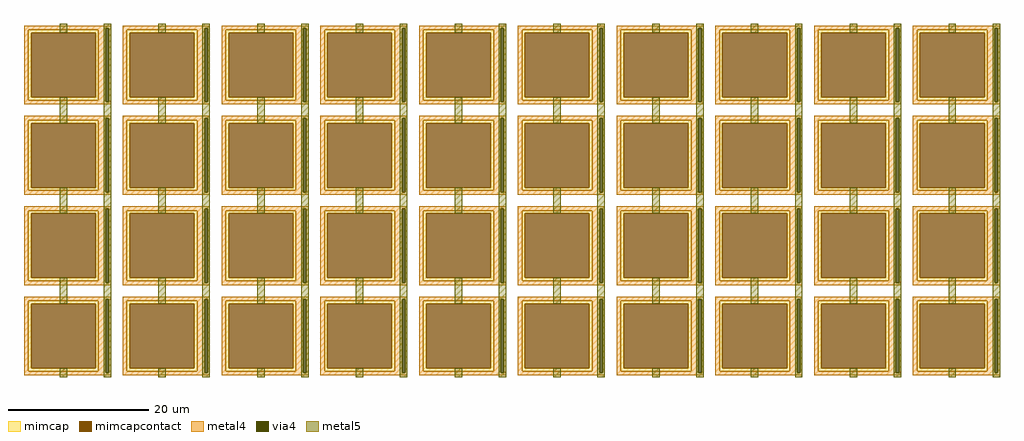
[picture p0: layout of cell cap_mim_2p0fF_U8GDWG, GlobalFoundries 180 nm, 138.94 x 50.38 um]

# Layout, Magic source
magic
tech gf180mcuD
magscale 1 10
<< mimcap >>
rect -12883 5096 -10883 5176
rect -12883 3256 -12803 5096
rect -10963 3256 -10883 5096
rect -12883 3176 -10883 3256
rect -10071 5096 -8071 5176
rect -10071 3256 -9991 5096
rect -8151 3256 -8071 5096
rect -10071 3176 -8071 3256
rect -7259 5096 -5259 5176
rect -7259 3256 -7179 5096
rect -5339 3256 -5259 5096
rect -7259 3176 -5259 3256
rect -4447 5096 -2447 5176
rect -4447 3256 -4367 5096
rect -2527 3256 -2447 5096
rect -4447 3176 -2447 3256
rect -1635 5096 365 5176
rect -1635 3256 -1555 5096
rect 285 3256 365 5096
rect -1635 3176 365 3256
rect 1177 5096 3177 5176
rect 1177 3256 1257 5096
rect 3097 3256 3177 5096
rect 1177 3176 3177 3256
rect 3989 5096 5989 5176
rect 3989 3256 4069 5096
rect 5909 3256 5989 5096
rect 3989 3176 5989 3256
rect 6801 5096 8801 5176
rect 6801 3256 6881 5096
rect 8721 3256 8801 5096
rect 6801 3176 8801 3256
rect 9613 5096 11613 5176
rect 9613 3256 9693 5096
rect 11533 3256 11613 5096
rect 9613 3176 11613 3256
rect 12425 5096 14425 5176
rect 12425 3256 12505 5096
rect 14345 3256 14425 5096
rect 12425 3176 14425 3256
rect -12883 2524 -10883 2604
rect -12883 684 -12803 2524
rect -10963 684 -10883 2524
rect -12883 604 -10883 684
rect -10071 2524 -8071 2604
rect -10071 684 -9991 2524
rect -8151 684 -8071 2524
rect -10071 604 -8071 684
rect -7259 2524 -5259 2604
rect -7259 684 -7179 2524
rect -5339 684 -5259 2524
rect -7259 604 -5259 684
rect -4447 2524 -2447 2604
rect -4447 684 -4367 2524
rect -2527 684 -2447 2524
rect -4447 604 -2447 684
rect -1635 2524 365 2604
rect -1635 684 -1555 2524
rect 285 684 365 2524
rect -1635 604 365 684
rect 1177 2524 3177 2604
rect 1177 684 1257 2524
rect 3097 684 3177 2524
rect 1177 604 3177 684
rect 3989 2524 5989 2604
rect 3989 684 4069 2524
rect 5909 684 5989 2524
rect 3989 604 5989 684
rect 6801 2524 8801 2604
rect 6801 684 6881 2524
rect 8721 684 8801 2524
rect 6801 604 8801 684
rect 9613 2524 11613 2604
rect 9613 684 9693 2524
rect 11533 684 11613 2524
rect 9613 604 11613 684
rect 12425 2524 14425 2604
rect 12425 684 12505 2524
rect 14345 684 14425 2524
rect 12425 604 14425 684
rect -12883 -48 -10883 32
rect -12883 -1888 -12803 -48
rect -10963 -1888 -10883 -48
rect -12883 -1968 -10883 -1888
rect -10071 -48 -8071 32
rect -10071 -1888 -9991 -48
rect -8151 -1888 -8071 -48
rect -10071 -1968 -8071 -1888
rect -7259 -48 -5259 32
rect -7259 -1888 -7179 -48
rect -5339 -1888 -5259 -48
rect -7259 -1968 -5259 -1888
rect -4447 -48 -2447 32
rect -4447 -1888 -4367 -48
rect -2527 -1888 -2447 -48
rect -4447 -1968 -2447 -1888
rect -1635 -48 365 32
rect -1635 -1888 -1555 -48
rect 285 -1888 365 -48
rect -1635 -1968 365 -1888
rect 1177 -48 3177 32
rect 1177 -1888 1257 -48
rect 3097 -1888 3177 -48
rect 1177 -1968 3177 -1888
rect 3989 -48 5989 32
rect 3989 -1888 4069 -48
rect 5909 -1888 5989 -48
rect 3989 -1968 5989 -1888
rect 6801 -48 8801 32
rect 6801 -1888 6881 -48
rect 8721 -1888 8801 -48
rect 6801 -1968 8801 -1888
rect 9613 -48 11613 32
rect 9613 -1888 9693 -48
rect 11533 -1888 11613 -48
rect 9613 -1968 11613 -1888
rect 12425 -48 14425 32
rect 12425 -1888 12505 -48
rect 14345 -1888 14425 -48
rect 12425 -1968 14425 -1888
rect -12883 -2620 -10883 -2540
rect -12883 -4460 -12803 -2620
rect -10963 -4460 -10883 -2620
rect -12883 -4540 -10883 -4460
rect -10071 -2620 -8071 -2540
rect -10071 -4460 -9991 -2620
rect -8151 -4460 -8071 -2620
rect -10071 -4540 -8071 -4460
rect -7259 -2620 -5259 -2540
rect -7259 -4460 -7179 -2620
rect -5339 -4460 -5259 -2620
rect -7259 -4540 -5259 -4460
rect -4447 -2620 -2447 -2540
rect -4447 -4460 -4367 -2620
rect -2527 -4460 -2447 -2620
rect -4447 -4540 -2447 -4460
rect -1635 -2620 365 -2540
rect -1635 -4460 -1555 -2620
rect 285 -4460 365 -2620
rect -1635 -4540 365 -4460
rect 1177 -2620 3177 -2540
rect 1177 -4460 1257 -2620
rect 3097 -4460 3177 -2620
rect 1177 -4540 3177 -4460
rect 3989 -2620 5989 -2540
rect 3989 -4460 4069 -2620
rect 5909 -4460 5989 -2620
rect 3989 -4540 5989 -4460
rect 6801 -2620 8801 -2540
rect 6801 -4460 6881 -2620
rect 8721 -4460 8801 -2620
rect 6801 -4540 8801 -4460
rect 9613 -2620 11613 -2540
rect 9613 -4460 9693 -2620
rect 11533 -4460 11613 -2620
rect 9613 -4540 11613 -4460
rect 12425 -2620 14425 -2540
rect 12425 -4460 12505 -2620
rect 14345 -4460 14425 -2620
rect 12425 -4540 14425 -4460
<< mimcapcontact >>
rect -12803 3256 -10963 5096
rect -9991 3256 -8151 5096
rect -7179 3256 -5339 5096
rect -4367 3256 -2527 5096
rect -1555 3256 285 5096
rect 1257 3256 3097 5096
rect 4069 3256 5909 5096
rect 6881 3256 8721 5096
rect 9693 3256 11533 5096
rect 12505 3256 14345 5096
rect -12803 684 -10963 2524
rect -9991 684 -8151 2524
rect -7179 684 -5339 2524
rect -4367 684 -2527 2524
rect -1555 684 285 2524
rect 1257 684 3097 2524
rect 4069 684 5909 2524
rect 6881 684 8721 2524
rect 9693 684 11533 2524
rect 12505 684 14345 2524
rect -12803 -1888 -10963 -48
rect -9991 -1888 -8151 -48
rect -7179 -1888 -5339 -48
rect -4367 -1888 -2527 -48
rect -1555 -1888 285 -48
rect 1257 -1888 3097 -48
rect 4069 -1888 5909 -48
rect 6881 -1888 8721 -48
rect 9693 -1888 11533 -48
rect 12505 -1888 14345 -48
rect -12803 -4460 -10963 -2620
rect -9991 -4460 -8151 -2620
rect -7179 -4460 -5339 -2620
rect -4367 -4460 -2527 -2620
rect -1555 -4460 285 -2620
rect 1257 -4460 3097 -2620
rect 4069 -4460 5909 -2620
rect 6881 -4460 8721 -2620
rect 9693 -4460 11533 -2620
rect 12505 -4460 14345 -2620
<< metal4 >>
rect -13003 5229 -10523 5296
rect -13003 5176 -10673 5229
rect -13003 3176 -12883 5176
rect -10883 3176 -10673 5176
rect -13003 3123 -10673 3176
rect -10585 3123 -10523 5229
rect -13003 3056 -10523 3123
rect -10191 5229 -7711 5296
rect -10191 5176 -7861 5229
rect -10191 3176 -10071 5176
rect -8071 3176 -7861 5176
rect -10191 3123 -7861 3176
rect -7773 3123 -7711 5229
rect -10191 3056 -7711 3123
rect -7379 5229 -4899 5296
rect -7379 5176 -5049 5229
rect -7379 3176 -7259 5176
rect -5259 3176 -5049 5176
rect -7379 3123 -5049 3176
rect -4961 3123 -4899 5229
rect -7379 3056 -4899 3123
rect -4567 5229 -2087 5296
rect -4567 5176 -2237 5229
rect -4567 3176 -4447 5176
rect -2447 3176 -2237 5176
rect -4567 3123 -2237 3176
rect -2149 3123 -2087 5229
rect -4567 3056 -2087 3123
rect -1755 5229 725 5296
rect -1755 5176 575 5229
rect -1755 3176 -1635 5176
rect 365 3176 575 5176
rect -1755 3123 575 3176
rect 663 3123 725 5229
rect -1755 3056 725 3123
rect 1057 5229 3537 5296
rect 1057 5176 3387 5229
rect 1057 3176 1177 5176
rect 3177 3176 3387 5176
rect 1057 3123 3387 3176
rect 3475 3123 3537 5229
rect 1057 3056 3537 3123
rect 3869 5229 6349 5296
rect 3869 5176 6199 5229
rect 3869 3176 3989 5176
rect 5989 3176 6199 5176
rect 3869 3123 6199 3176
rect 6287 3123 6349 5229
rect 3869 3056 6349 3123
rect 6681 5229 9161 5296
rect 6681 5176 9011 5229
rect 6681 3176 6801 5176
rect 8801 3176 9011 5176
rect 6681 3123 9011 3176
rect 9099 3123 9161 5229
rect 6681 3056 9161 3123
rect 9493 5229 11973 5296
rect 9493 5176 11823 5229
rect 9493 3176 9613 5176
rect 11613 3176 11823 5176
rect 9493 3123 11823 3176
rect 11911 3123 11973 5229
rect 9493 3056 11973 3123
rect 12305 5229 14785 5296
rect 12305 5176 14635 5229
rect 12305 3176 12425 5176
rect 14425 3176 14635 5176
rect 12305 3123 14635 3176
rect 14723 3123 14785 5229
rect 12305 3056 14785 3123
rect -13003 2657 -10523 2724
rect -13003 2604 -10673 2657
rect -13003 604 -12883 2604
rect -10883 604 -10673 2604
rect -13003 551 -10673 604
rect -10585 551 -10523 2657
rect -13003 484 -10523 551
rect -10191 2657 -7711 2724
rect -10191 2604 -7861 2657
rect -10191 604 -10071 2604
rect -8071 604 -7861 2604
rect -10191 551 -7861 604
rect -7773 551 -7711 2657
rect -10191 484 -7711 551
rect -7379 2657 -4899 2724
rect -7379 2604 -5049 2657
rect -7379 604 -7259 2604
rect -5259 604 -5049 2604
rect -7379 551 -5049 604
rect -4961 551 -4899 2657
rect -7379 484 -4899 551
rect -4567 2657 -2087 2724
rect -4567 2604 -2237 2657
rect -4567 604 -4447 2604
rect -2447 604 -2237 2604
rect -4567 551 -2237 604
rect -2149 551 -2087 2657
rect -4567 484 -2087 551
rect -1755 2657 725 2724
rect -1755 2604 575 2657
rect -1755 604 -1635 2604
rect 365 604 575 2604
rect -1755 551 575 604
rect 663 551 725 2657
rect -1755 484 725 551
rect 1057 2657 3537 2724
rect 1057 2604 3387 2657
rect 1057 604 1177 2604
rect 3177 604 3387 2604
rect 1057 551 3387 604
rect 3475 551 3537 2657
rect 1057 484 3537 551
rect 3869 2657 6349 2724
rect 3869 2604 6199 2657
rect 3869 604 3989 2604
rect 5989 604 6199 2604
rect 3869 551 6199 604
rect 6287 551 6349 2657
rect 3869 484 6349 551
rect 6681 2657 9161 2724
rect 6681 2604 9011 2657
rect 6681 604 6801 2604
rect 8801 604 9011 2604
rect 6681 551 9011 604
rect 9099 551 9161 2657
rect 6681 484 9161 551
rect 9493 2657 11973 2724
rect 9493 2604 11823 2657
rect 9493 604 9613 2604
rect 11613 604 11823 2604
rect 9493 551 11823 604
rect 11911 551 11973 2657
rect 9493 484 11973 551
rect 12305 2657 14785 2724
rect 12305 2604 14635 2657
rect 12305 604 12425 2604
rect 14425 604 14635 2604
rect 12305 551 14635 604
rect 14723 551 14785 2657
rect 12305 484 14785 551
rect -13003 85 -10523 152
rect -13003 32 -10673 85
rect -13003 -1968 -12883 32
rect -10883 -1968 -10673 32
rect -13003 -2021 -10673 -1968
rect -10585 -2021 -10523 85
rect -13003 -2088 -10523 -2021
rect -10191 85 -7711 152
rect -10191 32 -7861 85
rect -10191 -1968 -10071 32
rect -8071 -1968 -7861 32
rect -10191 -2021 -7861 -1968
rect -7773 -2021 -7711 85
rect -10191 -2088 -7711 -2021
rect -7379 85 -4899 152
rect -7379 32 -5049 85
rect -7379 -1968 -7259 32
rect -5259 -1968 -5049 32
rect -7379 -2021 -5049 -1968
rect -4961 -2021 -4899 85
rect -7379 -2088 -4899 -2021
rect -4567 85 -2087 152
rect -4567 32 -2237 85
rect -4567 -1968 -4447 32
rect -2447 -1968 -2237 32
rect -4567 -2021 -2237 -1968
rect -2149 -2021 -2087 85
rect -4567 -2088 -2087 -2021
rect -1755 85 725 152
rect -1755 32 575 85
rect -1755 -1968 -1635 32
rect 365 -1968 575 32
rect -1755 -2021 575 -1968
rect 663 -2021 725 85
rect -1755 -2088 725 -2021
rect 1057 85 3537 152
rect 1057 32 3387 85
rect 1057 -1968 1177 32
rect 3177 -1968 3387 32
rect 1057 -2021 3387 -1968
rect 3475 -2021 3537 85
rect 1057 -2088 3537 -2021
rect 3869 85 6349 152
rect 3869 32 6199 85
rect 3869 -1968 3989 32
rect 5989 -1968 6199 32
rect 3869 -2021 6199 -1968
rect 6287 -2021 6349 85
rect 3869 -2088 6349 -2021
rect 6681 85 9161 152
rect 6681 32 9011 85
rect 6681 -1968 6801 32
rect 8801 -1968 9011 32
rect 6681 -2021 9011 -1968
rect 9099 -2021 9161 85
rect 6681 -2088 9161 -2021
rect 9493 85 11973 152
rect 9493 32 11823 85
rect 9493 -1968 9613 32
rect 11613 -1968 11823 32
rect 9493 -2021 11823 -1968
rect 11911 -2021 11973 85
rect 9493 -2088 11973 -2021
rect 12305 85 14785 152
rect 12305 32 14635 85
rect 12305 -1968 12425 32
rect 14425 -1968 14635 32
rect 12305 -2021 14635 -1968
rect 14723 -2021 14785 85
rect 12305 -2088 14785 -2021
rect -13003 -2487 -10523 -2420
rect -13003 -2540 -10673 -2487
rect -13003 -4540 -12883 -2540
rect -10883 -4540 -10673 -2540
rect -13003 -4593 -10673 -4540
rect -10585 -4593 -10523 -2487
rect -13003 -4660 -10523 -4593
rect -10191 -2487 -7711 -2420
rect -10191 -2540 -7861 -2487
rect -10191 -4540 -10071 -2540
rect -8071 -4540 -7861 -2540
rect -10191 -4593 -7861 -4540
rect -7773 -4593 -7711 -2487
rect -10191 -4660 -7711 -4593
rect -7379 -2487 -4899 -2420
rect -7379 -2540 -5049 -2487
rect -7379 -4540 -7259 -2540
rect -5259 -4540 -5049 -2540
rect -7379 -4593 -5049 -4540
rect -4961 -4593 -4899 -2487
rect -7379 -4660 -4899 -4593
rect -4567 -2487 -2087 -2420
rect -4567 -2540 -2237 -2487
rect -4567 -4540 -4447 -2540
rect -2447 -4540 -2237 -2540
rect -4567 -4593 -2237 -4540
rect -2149 -4593 -2087 -2487
rect -4567 -4660 -2087 -4593
rect -1755 -2487 725 -2420
rect -1755 -2540 575 -2487
rect -1755 -4540 -1635 -2540
rect 365 -4540 575 -2540
rect -1755 -4593 575 -4540
rect 663 -4593 725 -2487
rect -1755 -4660 725 -4593
rect 1057 -2487 3537 -2420
rect 1057 -2540 3387 -2487
rect 1057 -4540 1177 -2540
rect 3177 -4540 3387 -2540
rect 1057 -4593 3387 -4540
rect 3475 -4593 3537 -2487
rect 1057 -4660 3537 -4593
rect 3869 -2487 6349 -2420
rect 3869 -2540 6199 -2487
rect 3869 -4540 3989 -2540
rect 5989 -4540 6199 -2540
rect 3869 -4593 6199 -4540
rect 6287 -4593 6349 -2487
rect 3869 -4660 6349 -4593
rect 6681 -2487 9161 -2420
rect 6681 -2540 9011 -2487
rect 6681 -4540 6801 -2540
rect 8801 -4540 9011 -2540
rect 6681 -4593 9011 -4540
rect 9099 -4593 9161 -2487
rect 6681 -4660 9161 -4593
rect 9493 -2487 11973 -2420
rect 9493 -2540 11823 -2487
rect 9493 -4540 9613 -2540
rect 11613 -4540 11823 -2540
rect 9493 -4593 11823 -4540
rect 11911 -4593 11973 -2487
rect 9493 -4660 11973 -4593
rect 12305 -2487 14785 -2420
rect 12305 -2540 14635 -2487
rect 12305 -4540 12425 -2540
rect 14425 -4540 14635 -2540
rect 12305 -4593 14635 -4540
rect 14723 -4593 14785 -2487
rect 12305 -4660 14785 -4593
<< via4 >>
rect -10673 3123 -10585 5229
rect -7861 3123 -7773 5229
rect -5049 3123 -4961 5229
rect -2237 3123 -2149 5229
rect 575 3123 663 5229
rect 3387 3123 3475 5229
rect 6199 3123 6287 5229
rect 9011 3123 9099 5229
rect 11823 3123 11911 5229
rect 14635 3123 14723 5229
rect -10673 551 -10585 2657
rect -7861 551 -7773 2657
rect -5049 551 -4961 2657
rect -2237 551 -2149 2657
rect 575 551 663 2657
rect 3387 551 3475 2657
rect 6199 551 6287 2657
rect 9011 551 9099 2657
rect 11823 551 11911 2657
rect 14635 551 14723 2657
rect -10673 -2021 -10585 85
rect -7861 -2021 -7773 85
rect -5049 -2021 -4961 85
rect -2237 -2021 -2149 85
rect 575 -2021 663 85
rect 3387 -2021 3475 85
rect 6199 -2021 6287 85
rect 9011 -2021 9099 85
rect 11823 -2021 11911 85
rect 14635 -2021 14723 85
rect -10673 -4593 -10585 -2487
rect -7861 -4593 -7773 -2487
rect -5049 -4593 -4961 -2487
rect -2237 -4593 -2149 -2487
rect 575 -4593 663 -2487
rect 3387 -4593 3475 -2487
rect 6199 -4593 6287 -2487
rect 9011 -4593 9099 -2487
rect 11823 -4593 11911 -2487
rect 14635 -4593 14723 -2487
<< metal5 >>
rect -11989 5096 -11777 5356
rect -10735 5229 -10523 5356
rect -11989 2524 -11777 3256
rect -10735 3123 -10673 5229
rect -10585 3123 -10523 5229
rect -9177 5096 -8965 5356
rect -7923 5229 -7711 5356
rect -10735 2657 -10523 3123
rect -11989 -48 -11777 684
rect -10735 551 -10673 2657
rect -10585 551 -10523 2657
rect -9177 2524 -8965 3256
rect -7923 3123 -7861 5229
rect -7773 3123 -7711 5229
rect -6365 5096 -6153 5356
rect -5111 5229 -4899 5356
rect -7923 2657 -7711 3123
rect -10735 85 -10523 551
rect -11989 -2620 -11777 -1888
rect -10735 -2021 -10673 85
rect -10585 -2021 -10523 85
rect -9177 -48 -8965 684
rect -7923 551 -7861 2657
rect -7773 551 -7711 2657
rect -6365 2524 -6153 3256
rect -5111 3123 -5049 5229
rect -4961 3123 -4899 5229
rect -3553 5096 -3341 5356
rect -2299 5229 -2087 5356
rect -5111 2657 -4899 3123
rect -7923 85 -7711 551
rect -10735 -2487 -10523 -2021
rect -11989 -4720 -11777 -4460
rect -10735 -4593 -10673 -2487
rect -10585 -4593 -10523 -2487
rect -9177 -2620 -8965 -1888
rect -7923 -2021 -7861 85
rect -7773 -2021 -7711 85
rect -6365 -48 -6153 684
rect -5111 551 -5049 2657
rect -4961 551 -4899 2657
rect -3553 2524 -3341 3256
rect -2299 3123 -2237 5229
rect -2149 3123 -2087 5229
rect -741 5096 -529 5356
rect 513 5229 725 5356
rect -2299 2657 -2087 3123
rect -5111 85 -4899 551
rect -7923 -2487 -7711 -2021
rect -10735 -4720 -10523 -4593
rect -9177 -4720 -8965 -4460
rect -7923 -4593 -7861 -2487
rect -7773 -4593 -7711 -2487
rect -6365 -2620 -6153 -1888
rect -5111 -2021 -5049 85
rect -4961 -2021 -4899 85
rect -3553 -48 -3341 684
rect -2299 551 -2237 2657
rect -2149 551 -2087 2657
rect -741 2524 -529 3256
rect 513 3123 575 5229
rect 663 3123 725 5229
rect 2071 5096 2283 5356
rect 3325 5229 3537 5356
rect 513 2657 725 3123
rect -2299 85 -2087 551
rect -5111 -2487 -4899 -2021
rect -7923 -4720 -7711 -4593
rect -6365 -4720 -6153 -4460
rect -5111 -4593 -5049 -2487
rect -4961 -4593 -4899 -2487
rect -3553 -2620 -3341 -1888
rect -2299 -2021 -2237 85
rect -2149 -2021 -2087 85
rect -741 -48 -529 684
rect 513 551 575 2657
rect 663 551 725 2657
rect 2071 2524 2283 3256
rect 3325 3123 3387 5229
rect 3475 3123 3537 5229
rect 4883 5096 5095 5356
rect 6137 5229 6349 5356
rect 3325 2657 3537 3123
rect 513 85 725 551
rect -2299 -2487 -2087 -2021
rect -5111 -4720 -4899 -4593
rect -3553 -4720 -3341 -4460
rect -2299 -4593 -2237 -2487
rect -2149 -4593 -2087 -2487
rect -741 -2620 -529 -1888
rect 513 -2021 575 85
rect 663 -2021 725 85
rect 2071 -48 2283 684
rect 3325 551 3387 2657
rect 3475 551 3537 2657
rect 4883 2524 5095 3256
rect 6137 3123 6199 5229
rect 6287 3123 6349 5229
rect 7695 5096 7907 5356
rect 8949 5229 9161 5356
rect 6137 2657 6349 3123
rect 3325 85 3537 551
rect 513 -2487 725 -2021
rect -2299 -4720 -2087 -4593
rect -741 -4720 -529 -4460
rect 513 -4593 575 -2487
rect 663 -4593 725 -2487
rect 2071 -2620 2283 -1888
rect 3325 -2021 3387 85
rect 3475 -2021 3537 85
rect 4883 -48 5095 684
rect 6137 551 6199 2657
rect 6287 551 6349 2657
rect 7695 2524 7907 3256
rect 8949 3123 9011 5229
rect 9099 3123 9161 5229
rect 10507 5096 10719 5356
rect 11761 5229 11973 5356
rect 8949 2657 9161 3123
rect 6137 85 6349 551
rect 3325 -2487 3537 -2021
rect 513 -4720 725 -4593
rect 2071 -4720 2283 -4460
rect 3325 -4593 3387 -2487
rect 3475 -4593 3537 -2487
rect 4883 -2620 5095 -1888
rect 6137 -2021 6199 85
rect 6287 -2021 6349 85
rect 7695 -48 7907 684
rect 8949 551 9011 2657
rect 9099 551 9161 2657
rect 10507 2524 10719 3256
rect 11761 3123 11823 5229
rect 11911 3123 11973 5229
rect 13319 5096 13531 5356
rect 14573 5229 14785 5356
rect 11761 2657 11973 3123
rect 8949 85 9161 551
rect 6137 -2487 6349 -2021
rect 3325 -4720 3537 -4593
rect 4883 -4720 5095 -4460
rect 6137 -4593 6199 -2487
rect 6287 -4593 6349 -2487
rect 7695 -2620 7907 -1888
rect 8949 -2021 9011 85
rect 9099 -2021 9161 85
rect 10507 -48 10719 684
rect 11761 551 11823 2657
rect 11911 551 11973 2657
rect 13319 2524 13531 3256
rect 14573 3123 14635 5229
rect 14723 3123 14785 5229
rect 14573 2657 14785 3123
rect 11761 85 11973 551
rect 8949 -2487 9161 -2021
rect 6137 -4720 6349 -4593
rect 7695 -4720 7907 -4460
rect 8949 -4593 9011 -2487
rect 9099 -4593 9161 -2487
rect 10507 -2620 10719 -1888
rect 11761 -2021 11823 85
rect 11911 -2021 11973 85
rect 13319 -48 13531 684
rect 14573 551 14635 2657
rect 14723 551 14785 2657
rect 14573 85 14785 551
rect 11761 -2487 11973 -2021
rect 8949 -4720 9161 -4593
rect 10507 -4720 10719 -4460
rect 11761 -4593 11823 -2487
rect 11911 -4593 11973 -2487
rect 13319 -2620 13531 -1888
rect 14573 -2021 14635 85
rect 14723 -2021 14785 85
rect 14573 -2487 14785 -2021
rect 11761 -4720 11973 -4593
rect 13319 -4720 13531 -4460
rect 14573 -4593 14635 -2487
rect 14723 -4593 14785 -2487
rect 14573 -4720 14785 -4593
<< properties >>
string FIXED_BBOX 10523 2420 12763 4660
string gencell cap_mim_2p0fF
string library gf180mcu
string parameters w 10.00 l 10.00 val 3.3k carea 25.00 cperi 20.00 class capacitor nx 10 ny 4 dummy 0 square 0 lmin 5.00 wmin 5.00 lmax 100.0 wmax 100.0 dc 0 bconnect 1 tconnect 1
<< end >>
